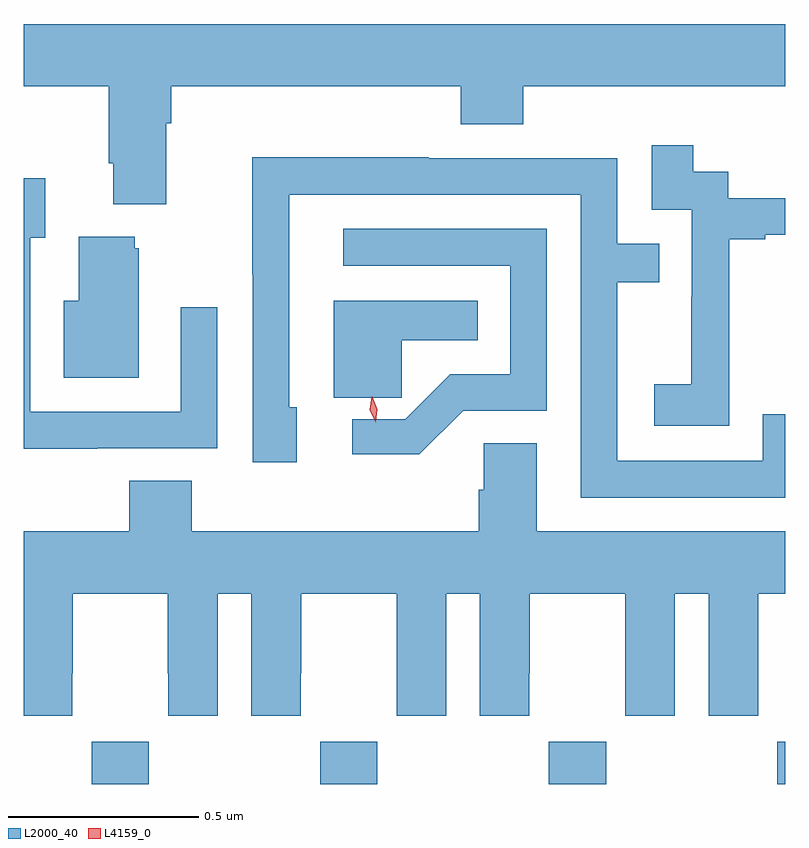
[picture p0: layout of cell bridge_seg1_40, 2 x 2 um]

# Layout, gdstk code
import gdstk
lib = gdstk.Library(unit=1e-6, precision=1e-09)
def R(c, l, rs):  # rectangles x0, y0, x1, y1
    for r in rs: c.add(gdstk.rectangle(r[:2], r[2:], *l))
def A(c, l, x, y, w, h, nx, ny, dx, dy):  # array of equal rectangles
    R(c, l, [(x+i*dx, y+j*dy, x+i*dx+w, y+j*dy+h) for i in range(nx) for j in range(ny)])
def P(c, l, *ps):  # polygons
    for p in ps: c.add(gdstk.Polygon(p, *l))
L2000_40 = (2000, 40)
L4159_0 = (4159, 0)

bridge_seg1_40 = lib.new_cell('bridge_seg1_40')
A(bridge_seg1_40, L2000_40, 888.669, 517.933, 0.15, 0.111, 3, 1, 0.6, 0)
R(bridge_seg1_40, L2000_40, [(890.469,517.933,890.49,518.044)])
P(bridge_seg1_40, L2000_40, [(888.865,519.668),(888.878,519.668),(888.878,519.764),(889.637,519.764),(889.637,519.665),(889.802,519.665),(889.802,519.764),(890.49,519.764),(890.49,519.928),(888.49,519.928),(888.49,519.764),(888.713,519.764),(888.713,519.562),(888.725,519.562),(888.725,519.455),(888.865,519.455)],
  [(890.343,519.079),(890.342,519.079),(890.342,519.363),(890.437,519.363),(890.437,519.375),(890.49,519.375),(890.49,519.471),(890.34,519.471),(890.34,519.54),(890.248,519.54),(890.248,519.61),(890.139,519.61),(890.139,519.441),(890.244,519.441),(890.244,519.212),(890.243,519.212),(890.243,518.983),(890.145,518.983),(890.145,518.873),(890.343,518.873)],
  [(890.49,518.904),(890.43,518.904),(890.43,518.781),(890.049,518.781),(890.049,519.25),(890.159,519.25),(890.159,519.351),(890.049,519.351),(890.049,519.576),(889.553,519.576),(889.553,519.578),(889.09,519.578),(889.09,519.271),(889.092,519.271),(889.092,518.778),(889.207,518.778),(889.207,518.922),(889.188,518.922),(889.188,519.48),(889.953,519.48),(889.953,518.685),(890.49,518.685)],
  [(888.683,518.814),(888.999,518.814),(888.999,519.184),(888.903,519.184),(888.903,518.91),(888.507,518.91),(888.507,519.367),(888.547,519.367),(888.547,519.523),(888.49,519.523),(888.49,518.813),(888.683,518.813)],
  [(889.644,518.913),(889.863,518.913),(889.863,519.39),(889.329,519.39),(889.329,519.294),(889.767,519.294),(889.767,519.009),(889.61,519.009),(889.492,518.891),(889.353,518.891),(889.353,518.798),(889.529,518.798)],
  [(888.793,519.339),(888.782,519.339),(888.782,519.37),(888.635,519.37),(888.635,519.202),(888.596,519.202),(888.596,518.999),(888.793,518.999)],
  [(889.483,519.098),(889.682,519.098),(889.682,519.202),(889.304,519.202),(889.304,518.947),(889.483,518.947)],
  [(888.618,518.224),(888.619,518.224),(888.619,518.432),(888.869,518.432),(888.869,518.224),(888.87,518.224),(888.87,518.112),(889,518.112),(889,518.432),(889.088,518.432),(889.088,518.112),(889.218,518.112),(889.218,518.224),(889.219,518.224),(889.219,518.432),(889.469,518.432),(889.469,518.224),(889.47,518.224),(889.47,518.112),(889.6,518.112),(889.6,518.432),(889.688,518.432),(889.688,518.112),(889.818,518.112),(889.818,518.224),(889.819,518.224),(889.819,518.432),(890.069,518.432),(890.069,518.224),(890.07,518.224),(890.07,518.112),(890.2,518.112),(890.2,518.432),(890.288,518.432),(890.288,518.112),(890.418,518.112),(890.418,518.224),(890.419,518.224),(890.419,518.432),(890.49,518.432),(890.49,518.596),(889.837,518.596),(889.837,518.828),(889.698,518.828),(889.698,518.705),(889.685,518.705),(889.685,518.596),(888.932,518.596),(888.932,518.729),(888.767,518.729),(888.767,518.596),(888.49,518.596),(888.49,518.112),(888.618,518.112)])
P(bridge_seg1_40, L4159_0, [(889.414,518.883),(889.414,518.883),(889.399,518.915),(889.404,518.949),(889.405,518.949),(889.405,518.949),(889.419,518.917),(889.414,518.883)])

lib.write_gds('bridge_seg1_40.gds')
